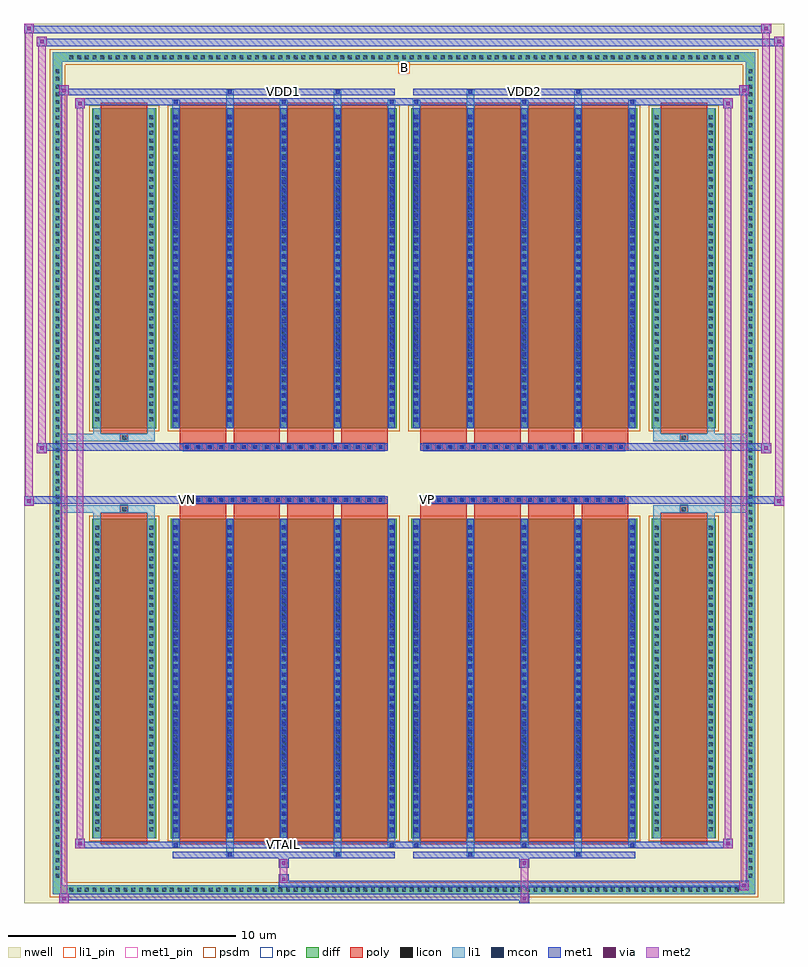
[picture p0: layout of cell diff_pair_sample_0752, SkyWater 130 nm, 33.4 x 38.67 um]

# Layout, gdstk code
import gdstk
lib = gdstk.Library(unit=1e-6, precision=5e-09)
def R(c, l, rs):  # rectangles x0, y0, x1, y1
    for r in rs: c.add(gdstk.rectangle(r[:2], r[2:], *l))
def A(c, l, x, y, w, h, nx, ny, dx, dy):  # array of equal rectangles
    R(c, l, [(x+i*dx, y+j*dy, x+i*dx+w, y+j*dy+h) for i in range(nx) for j in range(ny)])
def P(c, l, *ps):  # polygons
    for p in ps: c.add(gdstk.Polygon(p, *l))
nwell = (64, 20)
diff = (65, 20)
poly = (66, 20)
licon = (66, 44)
li1_pin = (67, 16)
li1 = (67, 20)
mcon = (67, 44)
met1_pin = (68, 16)
met1 = (68, 20)
via = (68, 44)
met2 = (69, 20)
psdm = (94, 20)
npc = (95, 20)

diff_pair_sample_0752 = lib.new_cell('diff_pair_sample_0752')
R(diff_pair_sample_0752, nwell, [(-16.7,-18.9,16.7,19.77), (-14.02,-17.09,-0.01,-0.795), (0.01,-17.09,14.02,-0.795), (-14.02,0.795,-0.01,17.09), (0.01,0.795,14.02,17.09)])
A(diff_pair_sample_0752, diff, -14.825, -18.5, 0.41, 0.41, 87, 2, 0.34, 36.59)
A(diff_pair_sample_0752, diff, -15.43, -17.885, 0.41, 0.41, 1, 105, 0, 0.34)
A(diff_pair_sample_0752, diff, 15.02, -17.885, 0.41, 0.41, 1, 105, 0, 0.34)
R(diff_pair_sample_0752, diff, [(-14.825,-18.5,14.825,-18.09), (-15.43,-17.885,-15.02,17.885), (15.02,-17.885,15.43,17.885), (-13.71,-16.045,-10.89,-1.985), (-10.25,-16.045,-0.32,-1.985), (0.32,-16.045,10.25,-1.985), (10.89,-16.045,13.71,-1.985), (-13.71,1.985,-10.89,16.045), (-10.25,1.985,-0.32,16.045), (0.32,1.985,10.25,16.045), (10.89,1.985,13.71,16.045), (-14.825,18.09,14.825,18.5)])
P(diff_pair_sample_0752, diff, [(15.43,18.5),(-15.43,18.5),(-15.43,-18.09),(-15.02,-18.09),(-15.02,18.09),(15.02,18.09),(15.02,-18.09),(-15.02,-18.09),(-15.43,-18.09),(-15.43,-18.5),(15.43,-18.5)])
A(diff_pair_sample_0752, poly, -9.86, -16.295, 2.04, 14.56, 4, 2, 2.37, 18.03)
A(diff_pair_sample_0752, poly, 0.71, -16.295, 2.04, 14.56, 4, 2, 2.37, 18.03)
A(diff_pair_sample_0752, poly, -9.86, -1.735, 2.04, 0.41, 4, 2, 2.37, 3.06)
A(diff_pair_sample_0752, poly, 0.71, -1.735, 2.04, 0.41, 4, 2, 2.37, 3.06)
A(diff_pair_sample_0752, poly, -9.7, -1.325, 0.33, 0.33, 18, 2, 0.5, 2.32)
A(diff_pair_sample_0752, poly, 0.87, -1.325, 0.33, 0.33, 18, 2, 0.5, 2.32)
R(diff_pair_sample_0752, poly, [(-13.32,-16.295,-11.28,-1.735), (11.28,-16.295,13.32,-1.735), (-12.465,-1.735,-12.135,-1.405), (-12.465,-1.735,-12.135,-1.405), (12.135,-1.735,12.465,-1.405), (12.135,-1.735,12.465,-1.405), (-9.86,-1.325,-0.71,-0.995), (0.71,-1.325,9.86,-0.995), (-9.86,0.995,-0.71,1.325), (0.71,0.995,9.86,1.325), (-12.465,1.405,-12.135,1.735), (-12.465,1.405,-12.135,1.735), (12.135,1.405,12.465,1.735), (12.135,1.405,12.465,1.735), (-13.32,1.735,-11.28,16.295), (11.28,1.735,13.32,16.295)])
A(diff_pair_sample_0752, licon, -14.705, -18.38, 0.17, 0.17, 87, 2, 0.34, 36.59)
A(diff_pair_sample_0752, licon, -15.31, -17.765, 0.17, 0.17, 1, 105, 0, 0.34)
A(diff_pair_sample_0752, licon, 15.14, -17.765, 0.17, 0.17, 1, 105, 0, 0.34)
A(diff_pair_sample_0752, licon, -13.57, -15.73, 0.17, 0.17, 1, 40, 0, 0.34)
A(diff_pair_sample_0752, licon, -11.2, -15.73, 0.17, 0.17, 1, 40, 0, 0.34)
A(diff_pair_sample_0752, licon, -10.11, -15.73, 0.17, 0.17, 5, 40, 2.37, 0.34)
A(diff_pair_sample_0752, licon, 0.46, -15.73, 0.17, 0.17, 5, 40, 2.37, 0.34)
A(diff_pair_sample_0752, licon, 11.03, -15.73, 0.17, 0.17, 1, 40, 0, 0.34)
A(diff_pair_sample_0752, licon, 13.4, -15.73, 0.17, 0.17, 1, 40, 0, 0.34)
A(diff_pair_sample_0752, licon, -9.62, -1.245, 0.17, 0.17, 18, 2, 0.5, 2.32)
A(diff_pair_sample_0752, licon, 0.95, -1.245, 0.17, 0.17, 18, 2, 0.5, 2.32)
A(diff_pair_sample_0752, licon, -13.57, 2.3, 0.17, 0.17, 1, 40, 0, 0.34)
A(diff_pair_sample_0752, licon, -11.2, 2.3, 0.17, 0.17, 1, 40, 0, 0.34)
A(diff_pair_sample_0752, licon, -10.11, 2.3, 0.17, 0.17, 5, 40, 2.37, 0.34)
A(diff_pair_sample_0752, licon, 0.46, 2.3, 0.17, 0.17, 5, 40, 2.37, 0.34)
A(diff_pair_sample_0752, licon, 11.03, 2.3, 0.17, 0.17, 1, 40, 0, 0.34)
A(diff_pair_sample_0752, licon, 13.4, 2.3, 0.17, 0.17, 1, 40, 0, 0.34)
R(diff_pair_sample_0752, licon, [(-12.385,-1.655,-12.215,-1.485), (12.215,-1.655,12.385,-1.485), (-12.385,1.485,-12.215,1.655), (12.215,1.485,12.385,1.655)])
R(diff_pair_sample_0752, li1_pin, [(-0.25,17.59,0.25,18.09)])
A(diff_pair_sample_0752, li1, -14.785, -18.46, 0.33, 0.33, 87, 2, 0.34, 36.59)
A(diff_pair_sample_0752, li1, -15.39, -17.845, 0.33, 0.33, 1, 105, 0, 0.34)
A(diff_pair_sample_0752, li1, 15.06, -17.845, 0.33, 0.33, 1, 105, 0, 0.34)
A(diff_pair_sample_0752, li1, -10.19, -16.42, 0.33, 0.375, 3, 2, 4.74, 32.465)
A(diff_pair_sample_0752, li1, -10.11, -16.42, 0.17, 0.17, 3, 2, 4.74, 32.67)
A(diff_pair_sample_0752, li1, 0.38, -16.42, 0.33, 0.375, 3, 2, 4.74, 32.465)
A(diff_pair_sample_0752, li1, 0.46, -16.42, 0.17, 0.17, 3, 2, 4.74, 32.67)
A(diff_pair_sample_0752, li1, -10.19, -16.045, 0.33, 14.06, 5, 2, 2.37, 18.03)
A(diff_pair_sample_0752, li1, 0.38, -16.045, 0.33, 14.06, 5, 2, 2.37, 18.03)
A(diff_pair_sample_0752, li1, -13.65, -15.81, 0.33, 0.33, 1, 40, 0, 0.34)
A(diff_pair_sample_0752, li1, -11.28, -15.81, 0.33, 0.33, 1, 40, 0, 0.34)
A(diff_pair_sample_0752, li1, -10.19, -15.81, 0.33, 0.33, 5, 40, 2.37, 0.34)
A(diff_pair_sample_0752, li1, 0.38, -15.81, 0.33, 0.33, 5, 40, 2.37, 0.34)
A(diff_pair_sample_0752, li1, 10.95, -15.81, 0.33, 0.33, 1, 40, 0, 0.34)
A(diff_pair_sample_0752, li1, 13.32, -15.81, 0.33, 0.33, 1, 40, 0, 0.34)
A(diff_pair_sample_0752, li1, -10.11, -15.76, 0.17, 0.17, 5, 38, 2.37, 0.36)
A(diff_pair_sample_0752, li1, -10.11, -15.76, 0.17, 13.49, 5, 2, 2.37, 18.03)
A(diff_pair_sample_0752, li1, 0.46, -15.76, 0.17, 0.17, 5, 38, 2.37, 0.36)
A(diff_pair_sample_0752, li1, 0.46, -15.76, 0.17, 13.49, 5, 2, 2.37, 18.03)
A(diff_pair_sample_0752, li1, -9.7, -1.325, 0.33, 0.33, 18, 2, 0.5, 2.32)
A(diff_pair_sample_0752, li1, 0.87, -1.325, 0.33, 0.33, 18, 2, 0.5, 2.32)
A(diff_pair_sample_0752, li1, -13.65, 2.22, 0.33, 0.33, 1, 40, 0, 0.34)
A(diff_pair_sample_0752, li1, -11.28, 2.22, 0.33, 0.33, 1, 40, 0, 0.34)
A(diff_pair_sample_0752, li1, -10.19, 2.22, 0.33, 0.33, 5, 40, 2.37, 0.34)
A(diff_pair_sample_0752, li1, 0.38, 2.22, 0.33, 0.33, 5, 40, 2.37, 0.34)
A(diff_pair_sample_0752, li1, 10.95, 2.22, 0.33, 0.33, 1, 40, 0, 0.34)
A(diff_pair_sample_0752, li1, 13.32, 2.22, 0.33, 0.33, 1, 40, 0, 0.34)
A(diff_pair_sample_0752, li1, -10.11, 2.27, 0.17, 0.17, 5, 38, 2.37, 0.36)
A(diff_pair_sample_0752, li1, 0.46, 2.27, 0.17, 0.17, 5, 38, 2.37, 0.36)
R(diff_pair_sample_0752, li1, [(-15.43,-18.5,-15.02,-18.09), (-15.43,-18.5,-15.02,-18.09), (-15.02,-18.5,15.02,-18.09), (15.02,-18.5,15.43,-18.09), (15.02,-18.5,15.43,-18.09), (-15.43,-18.09,-15.02,18.09), (15.02,-18.09,15.43,18.09), (-7.82,-16.85,-7.49,-16.045), (-7.74,-16.85,-7.57,-16.68), (-3.08,-16.85,-2.75,-16.045), (-3,-16.85,-2.83,-16.68), (2.75,-16.85,3.08,-16.045), (2.83,-16.85,3,-16.68), (7.49,-16.85,7.82,-16.045), (7.57,-16.85,7.74,-16.68), (-13.65,-16.045,-13.32,-1.985), (-11.28,-16.045,-10.95,-1.985), (10.95,-16.045,11.28,-1.985), (13.32,-16.045,13.65,-1.985), (-13.65,-1.985,-13.32,-1.405), (-11.28,-1.985,-10.95,-1.405), (10.95,-1.985,11.28,-1.405), (13.32,-1.985,13.65,-1.405), (-15.43,-1.735,-12.465,-1.405), (-13.65,-1.735,-12.465,-1.405), (-12.465,-1.735,-12.135,-1.405), (-12.135,-1.735,-10.95,-1.405), (10.95,-1.735,12.135,-1.405), (12.135,-1.735,12.465,-1.405), (12.135,-1.735,15.43,-1.405), (12.465,-1.735,13.65,-1.405), (-15.43,1.405,-12.465,1.735), (-13.65,1.405,-12.465,1.735), (-13.65,1.405,-13.32,1.985), (-12.465,1.405,-12.135,1.735), (-12.135,1.405,-10.95,1.735), (-11.28,1.405,-10.95,1.985), (10.95,1.405,12.135,1.735), (10.95,1.405,11.28,1.985), (12.135,1.405,12.465,1.735), (12.135,1.405,15.43,1.735), (12.465,1.405,13.65,1.735), (13.32,1.405,13.65,1.985), (-13.65,1.985,-13.32,16.045), (-11.28,1.985,-10.95,16.045), (10.95,1.985,11.28,16.045), (13.32,1.985,13.65,16.045), (-7.82,16.045,-7.49,16.85), (-3.08,16.045,-2.75,16.85), (2.75,16.045,3.08,16.85), (7.49,16.045,7.82,16.85), (-7.74,16.68,-7.57,16.85), (-3,16.68,-2.83,16.85), (2.83,16.68,3,16.85), (7.57,16.68,7.74,16.85), (-15.43,18.09,-15.02,18.5), (-15.43,18.09,-15.02,18.5), (-15.02,18.09,15.02,18.5), (15.02,18.09,15.43,18.5), (15.02,18.09,15.43,18.5)])
A(diff_pair_sample_0752, mcon, -10.11, -16.42, 0.17, 0.17, 3, 2, 4.74, 32.67)
A(diff_pair_sample_0752, mcon, 0.46, -16.42, 0.17, 0.17, 3, 2, 4.74, 32.67)
A(diff_pair_sample_0752, mcon, -10.11, -15.76, 0.17, 0.17, 5, 38, 2.37, 0.36)
A(diff_pair_sample_0752, mcon, 0.46, -15.76, 0.17, 0.17, 5, 38, 2.37, 0.36)
A(diff_pair_sample_0752, mcon, -9.62, -1.245, 0.17, 0.17, 18, 2, 0.5, 2.32)
A(diff_pair_sample_0752, mcon, 0.95, -1.245, 0.17, 0.17, 18, 2, 0.5, 2.32)
A(diff_pair_sample_0752, mcon, -10.11, 2.27, 0.17, 0.17, 5, 38, 2.37, 0.36)
A(diff_pair_sample_0752, mcon, 0.46, 2.27, 0.17, 0.17, 5, 38, 2.37, 0.36)
R(diff_pair_sample_0752, mcon, [(-7.74,-16.85,-7.57,-16.68), (-3,-16.85,-2.83,-16.68), (2.83,-16.85,3,-16.68), (7.57,-16.85,7.74,-16.68), (-7.74,16.68,-7.57,16.85), (-3,16.68,-2.83,16.85), (2.83,16.68,3,16.85), (7.57,16.68,7.74,16.85)])
R(diff_pair_sample_0752, met1_pin, [(-5.42,-16.46,-5.15,-16.19), (-9.67,-1.285,-9.4,-1.015), (0.9,-1.285,1.17,-1.015), (-5.42,16.64,-5.15,16.91), (5.15,16.64,5.42,16.91)])
A(diff_pair_sample_0752, met1, -10.17, -16.48, 0.29, 0.29, 3, 2, 4.74, 32.67)
A(diff_pair_sample_0752, met1, 0.4, -16.48, 0.29, 0.29, 3, 2, 4.74, 32.67)
A(diff_pair_sample_0752, met1, -10.17, -16.045, 0.29, 14.06, 5, 2, 2.37, 18.03)
A(diff_pair_sample_0752, met1, 0.4, -16.045, 0.29, 14.06, 5, 2, 2.37, 18.03)
A(diff_pair_sample_0752, met1, -10.17, -15.82, 0.29, 0.29, 5, 38, 2.37, 0.36)
A(diff_pair_sample_0752, met1, 0.4, -15.82, 0.29, 0.29, 5, 38, 2.37, 0.36)
A(diff_pair_sample_0752, met1, -9.68, -1.305, 0.29, 0.29, 18, 2, 0.5, 2.32)
A(diff_pair_sample_0752, met1, 0.89, -1.305, 0.29, 0.29, 18, 2, 0.5, 2.32)
A(diff_pair_sample_0752, met1, -10.17, 2.21, 0.29, 0.29, 5, 38, 2.37, 0.36)
A(diff_pair_sample_0752, met1, 0.4, 2.21, 0.29, 0.29, 5, 38, 2.37, 0.36)
R(diff_pair_sample_0752, met1, [(-15.16,-18.9,-14.73,-18.47), (5.07,-18.9,5.5,-18.47), (-15.16,-18.76,5.5,-18.47), (14.73,-18.33,15.16,-17.9), (-5.5,-18.19,15.16,-17.9), (-5.5,-18.05,-5.07,-17.62), (-5.5,-17.34,-5.07,-16.91), (5.07,-17.34,5.5,-16.91), (-10.17,-16.91,-0.4,-16.62), (-7.8,-16.91,-7.51,-16.62), (-3.06,-16.91,-2.77,-16.62), (0.4,-16.91,10.17,-16.62), (2.77,-16.91,3.06,-16.62), (7.51,-16.91,7.8,-16.62), (-14.45,-16.48,-14.02,-16.05), (-14.45,-16.48,-10.17,-16.19), (-10.17,-16.48,-0.4,-16.19), (-0.4,-16.48,0.4,-16.19), (0.4,-16.48,10.17,-16.19), (10.17,-16.48,14.45,-16.19), (14.02,-16.48,14.45,-16.05), (-16.7,-1.425,-16.27,-0.995), (16.27,-1.425,16.7,-0.995), (-16.7,-1.325,-0.71,-0.995), (-9.86,-1.325,-0.71,-0.995), (0.71,-1.325,9.86,-0.995), (0.71,-1.325,16.7,-0.995), (-16.13,0.895,-15.7,1.325), (15.7,0.895,16.13,1.325), (-16.13,0.995,-9.86,1.325), (-9.86,0.995,-0.71,1.325), (0.71,0.995,9.86,1.325), (9.86,0.995,16.13,1.325), (-14.45,16.05,-14.02,16.48), (14.02,16.05,14.45,16.48), (-14.45,16.19,-10.17,16.48), (-10.17,16.19,-0.4,16.48), (-0.4,16.19,0.4,16.48), (0.4,16.19,10.17,16.48), (10.17,16.19,14.45,16.48), (-15.16,16.62,-14.73,17.05), (-15.16,16.62,-10.17,16.91), (-10.17,16.62,-0.4,16.91), (-7.8,16.62,-7.51,16.91), (-3.06,16.62,-2.77,16.91), (0.4,16.62,10.17,16.91), (2.77,16.62,3.06,16.91), (7.51,16.62,7.8,16.91), (10.17,16.62,15.16,16.91), (14.73,16.62,15.16,17.05), (-16.13,18.77,-15.7,19.2), (-16.13,18.77,-14.02,19.1), (-14.02,18.77,14.02,19.1), (14.02,18.77,16.7,19.1), (16.27,18.77,16.7,19.2), (-16.7,19.34,-16.27,19.77), (-16.7,19.34,-14.02,19.67), (-14.02,19.34,14.02,19.67), (14.02,19.34,16.13,19.67), (15.7,19.34,16.13,19.77)])
R(diff_pair_sample_0752, via, [(-15.02,-18.76,-14.87,-18.61), (5.21,-18.76,5.36,-18.61), (14.87,-18.19,15.02,-18.04), (-5.36,-17.91,-5.21,-17.76), (-5.36,-17.2,-5.21,-17.05), (5.21,-17.2,5.36,-17.05), (-14.31,-16.34,-14.16,-16.19), (14.16,-16.34,14.31,-16.19), (-16.56,-1.285,-16.41,-1.135), (16.41,-1.285,16.56,-1.135), (-15.99,1.035,-15.84,1.185), (15.84,1.035,15.99,1.185), (-14.31,16.19,-14.16,16.34), (14.16,16.19,14.31,16.34), (-15.02,16.76,-14.87,16.91), (14.87,16.76,15.02,16.91), (-15.99,18.91,-15.84,19.06), (16.41,18.91,16.56,19.06), (-16.56,19.48,-16.41,19.63), (15.84,19.48,15.99,19.63)])
R(diff_pair_sample_0752, met2, [(-15.16,-18.9,-14.73,-18.47), (-15.09,-18.9,-14.8,17.05), (-14.8,-18.9,-14.73,-18.47), (-15.11,-18.85,-14.78,-18.52), (5.12,-18.85,5.45,-18.52), (5.12,-18.52,5.45,-17.29), (14.73,-18.33,15.16,-17.9), (14.8,-18.33,15.09,17.05), (15.09,-18.33,15.16,-17.9), (14.78,-18.28,15.11,-17.95), (-5.45,-18,-5.12,-17.67), (-5.45,-17.67,-5.12,-17.29), (-5.45,-17.29,-5.12,-16.96), (5.12,-17.29,5.45,-16.96), (-14.45,-16.48,-14.02,-16.05), (-14.38,-16.48,-14.09,16.48), (-14.09,-16.48,-14.02,-16.05), (14.02,-16.48,14.45,-16.05), (14.09,-16.48,14.38,16.48), (14.38,-16.48,14.45,-16.05), (-14.4,-16.43,-14.07,-16.1), (14.07,-16.43,14.4,-16.1), (-16.7,-1.425,-16.27,-0.995), (-16.65,-1.425,-16.32,19.77), (-16.32,-1.425,-16.27,-0.995), (16.27,-1.425,16.7,-0.995), (16.32,-1.425,16.65,19.2), (16.65,-1.425,16.7,-0.995), (-16.65,-1.375,-16.32,-1.045), (16.32,-1.375,16.65,-1.045), (-16.13,0.895,-15.7,1.325), (-16.08,0.895,-15.75,19.2), (-15.75,0.895,-15.7,1.325), (15.7,0.895,16.13,1.325), (15.75,0.895,16.08,19.77), (16.08,0.895,16.13,1.325), (-16.08,0.945,-15.75,1.275), (15.75,0.945,16.08,1.275), (-14.45,16.05,-14.02,16.48), (-14.09,16.05,-14.02,16.48), (14.02,16.05,14.45,16.48), (14.38,16.05,14.45,16.48), (-14.4,16.1,-14.07,16.43), (14.07,16.1,14.4,16.43), (-15.16,16.62,-14.73,17.05), (-14.8,16.62,-14.73,17.05), (14.73,16.62,15.16,17.05), (15.09,16.62,15.16,17.05), (-15.11,16.67,-14.78,17), (14.78,16.67,15.11,17), (-16.13,18.77,-15.7,19.2), (-15.75,18.77,-15.7,19.2), (16.27,18.77,16.7,19.2), (16.65,18.77,16.7,19.2), (-16.08,18.82,-15.75,19.15), (16.32,18.82,16.65,19.15), (-16.7,19.34,-16.27,19.77), (-16.32,19.34,-16.27,19.77), (15.7,19.34,16.13,19.77), (16.08,19.34,16.13,19.77), (-16.65,19.39,-16.32,19.72), (15.75,19.39,16.08,19.72)])
R(diff_pair_sample_0752, psdm, [(-13.84,-16.175,-10.76,-1.855), (-10.38,-16.175,-0.19,-1.855), (0.19,-16.175,10.38,-1.855), (10.76,-16.175,13.84,-1.855), (-13.84,1.855,-10.76,16.175), (-10.38,1.855,-0.19,16.175), (0.19,1.855,10.38,16.175), (10.76,1.855,13.84,16.175)])
P(diff_pair_sample_0752, psdm, [(15.56,18.63),(-15.56,18.63),(-15.56,-17.96),(-14.89,-17.96),(-14.89,17.96),(14.89,17.96),(14.89,-17.96),(-14.89,-17.96),(-15.56,-17.96),(-15.56,-18.63),(15.56,-18.63)])
A(diff_pair_sample_0752, npc, -9.72, -1.345, 0.37, 0.37, 18, 2, 0.5, 2.32)
A(diff_pair_sample_0752, npc, 0.85, -1.345, 0.37, 0.37, 18, 2, 0.5, 2.32)
R(diff_pair_sample_0752, npc, [(-12.485,-1.755,-12.115,-1.385), (12.115,-1.755,12.485,-1.385), (-9.72,-1.345,-8.85,-0.975), (-9.72,-1.345,-8.85,-0.975), (-9.22,-1.345,-8.35,-0.975), (-9.22,-1.345,-8.35,-0.975), (-8.72,-1.345,-7.85,-0.975), (-8.72,-1.345,-7.85,-0.975), (-8.22,-1.345,-7.35,-0.975), (-8.22,-1.345,-7.35,-0.975), (-7.72,-1.345,-6.85,-0.975), (-7.72,-1.345,-6.85,-0.975), (-7.22,-1.345,-6.35,-0.975), (-7.22,-1.345,-6.35,-0.975), (-6.72,-1.345,-5.85,-0.975), (-6.72,-1.345,-5.85,-0.975), (-6.22,-1.345,-5.35,-0.975), (-6.22,-1.345,-5.35,-0.975), (-5.72,-1.345,-4.85,-0.975), (-5.72,-1.345,-4.85,-0.975), (-5.22,-1.345,-4.35,-0.975), (-5.22,-1.345,-4.35,-0.975), (-4.72,-1.345,-3.85,-0.975), (-4.72,-1.345,-3.85,-0.975), (-4.22,-1.345,-3.35,-0.975), (-4.22,-1.345,-3.35,-0.975), (-3.72,-1.345,-2.85,-0.975), (-3.72,-1.345,-2.85,-0.975), (-3.22,-1.345,-2.35,-0.975), (-3.22,-1.345,-2.35,-0.975), (-2.72,-1.345,-1.85,-0.975), (-2.72,-1.345,-1.85,-0.975), (-2.22,-1.345,-1.35,-0.975), (-2.22,-1.345,-1.35,-0.975), (-1.72,-1.345,-0.85,-0.975), (-1.72,-1.345,-0.85,-0.975), (0.85,-1.345,1.72,-0.975), (0.85,-1.345,1.72,-0.975), (1.35,-1.345,2.22,-0.975), (1.35,-1.345,2.22,-0.975), (1.85,-1.345,2.72,-0.975), (1.85,-1.345,2.72,-0.975), (2.35,-1.345,3.22,-0.975), (2.35,-1.345,3.22,-0.975), (2.85,-1.345,3.72,-0.975), (2.85,-1.345,3.72,-0.975), (3.35,-1.345,4.22,-0.975), (3.35,-1.345,4.22,-0.975), (3.85,-1.345,4.72,-0.975), (3.85,-1.345,4.72,-0.975), (4.35,-1.345,5.22,-0.975), (4.35,-1.345,5.22,-0.975), (4.85,-1.345,5.72,-0.975), (4.85,-1.345,5.72,-0.975), (5.35,-1.345,6.22,-0.975), (5.35,-1.345,6.22,-0.975), (5.85,-1.345,6.72,-0.975), (5.85,-1.345,6.72,-0.975), (6.35,-1.345,7.22,-0.975), (6.35,-1.345,7.22,-0.975), (6.85,-1.345,7.72,-0.975), (6.85,-1.345,7.72,-0.975), (7.35,-1.345,8.22,-0.975), (7.35,-1.345,8.22,-0.975), (7.85,-1.345,8.72,-0.975), (7.85,-1.345,8.72,-0.975), (8.35,-1.345,9.22,-0.975), (8.35,-1.345,9.22,-0.975), (8.85,-1.345,9.72,-0.975), (8.85,-1.345,9.72,-0.975), (-9.72,0.975,-8.85,1.345), (-9.72,0.975,-8.85,1.345), (-9.22,0.975,-8.35,1.345), (-9.22,0.975,-8.35,1.345), (-8.72,0.975,-7.85,1.345), (-8.72,0.975,-7.85,1.345), (-8.22,0.975,-7.35,1.345), (-8.22,0.975,-7.35,1.345), (-7.72,0.975,-6.85,1.345), (-7.72,0.975,-6.85,1.345), (-7.22,0.975,-6.35,1.345), (-7.22,0.975,-6.35,1.345), (-6.72,0.975,-5.85,1.345), (-6.72,0.975,-5.85,1.345), (-6.22,0.975,-5.35,1.345), (-6.22,0.975,-5.35,1.345), (-5.72,0.975,-4.85,1.345), (-5.72,0.975,-4.85,1.345), (-5.22,0.975,-4.35,1.345), (-5.22,0.975,-4.35,1.345), (-4.72,0.975,-3.85,1.345), (-4.72,0.975,-3.85,1.345), (-4.22,0.975,-3.35,1.345), (-4.22,0.975,-3.35,1.345), (-3.72,0.975,-2.85,1.345), (-3.72,0.975,-2.85,1.345), (-3.22,0.975,-2.35,1.345), (-3.22,0.975,-2.35,1.345), (-2.72,0.975,-1.85,1.345), (-2.72,0.975,-1.85,1.345), (-2.22,0.975,-1.35,1.345), (-2.22,0.975,-1.35,1.345), (-1.72,0.975,-0.85,1.345), (-1.72,0.975,-0.85,1.345), (0.85,0.975,1.72,1.345), (0.85,0.975,1.72,1.345), (1.35,0.975,2.22,1.345), (1.35,0.975,2.22,1.345), (1.85,0.975,2.72,1.345), (1.85,0.975,2.72,1.345), (2.35,0.975,3.22,1.345), (2.35,0.975,3.22,1.345), (2.85,0.975,3.72,1.345), (2.85,0.975,3.72,1.345), (3.35,0.975,4.22,1.345), (3.35,0.975,4.22,1.345), (3.85,0.975,4.72,1.345), (3.85,0.975,4.72,1.345), (4.35,0.975,5.22,1.345), (4.35,0.975,5.22,1.345), (4.85,0.975,5.72,1.345), (4.85,0.975,5.72,1.345), (5.35,0.975,6.22,1.345), (5.35,0.975,6.22,1.345), (5.85,0.975,6.72,1.345), (5.85,0.975,6.72,1.345), (6.35,0.975,7.22,1.345), (6.35,0.975,7.22,1.345), (6.85,0.975,7.72,1.345), (6.85,0.975,7.72,1.345), (7.35,0.975,8.22,1.345), (7.35,0.975,8.22,1.345), (7.85,0.975,8.72,1.345), (7.85,0.975,8.72,1.345), (8.35,0.975,9.22,1.345), (8.35,0.975,9.22,1.345), (8.85,0.975,9.72,1.345), (8.85,0.975,9.72,1.345), (-12.485,1.385,-12.115,1.755), (12.115,1.385,12.485,1.755)])
diff_pair_sample_0752.add(gdstk.Label('VTAIL', (-5.285,-16.325), layer=68, texttype=5))
diff_pair_sample_0752.add(gdstk.Label('VN', (-9.535,-1.15), layer=68, texttype=5))
diff_pair_sample_0752.add(gdstk.Label('VP', (1.035,-1.15), layer=68, texttype=5))
diff_pair_sample_0752.add(gdstk.Label('B', (0,17.84), layer=67, texttype=5))
diff_pair_sample_0752.add(gdstk.Label('VDD2', (5.285,16.775), layer=68, texttype=5))
diff_pair_sample_0752.add(gdstk.Label('VDD1', (-5.285,16.775), layer=68, texttype=5))

lib.write_gds('diff_pair_sample_0752.gds')
